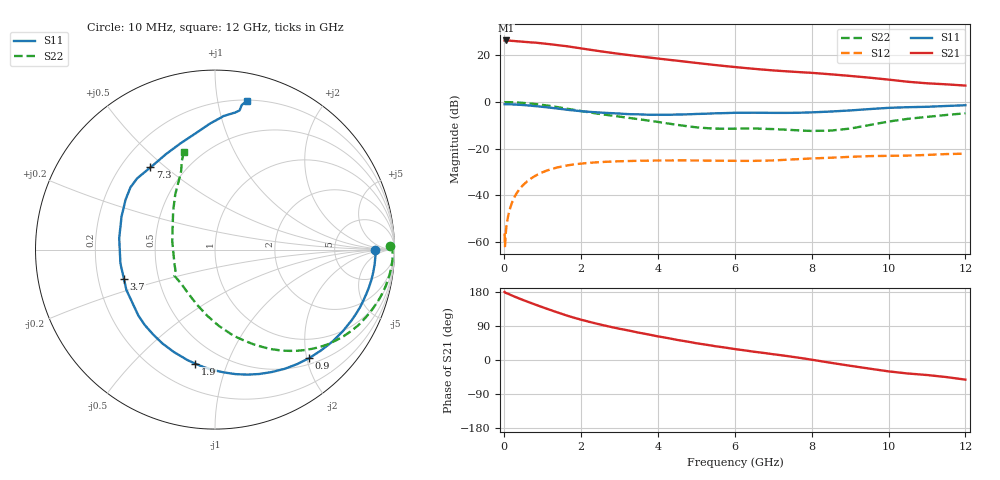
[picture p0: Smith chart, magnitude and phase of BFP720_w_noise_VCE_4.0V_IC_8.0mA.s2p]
! Infineon Technologies  Discrete & RF Semiconductors
! BFP720
! VCE =  4.0 V,  IC =  8.0 mA
! Common Emitter S-Parameters:  Aug 2012
# GHz  S  MA  R  50
!  f  S11  S21  S12  S22
! GHz  MAG  ANG  MAG  ANG  MAG  ANG  MAG  ANG
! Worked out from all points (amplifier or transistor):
!   105 points, 10 MHz to 12 GHz, reference 50 ohm
!   highest |S21| = 26.4 dB at 50 MHz (marker M1)
!   |S21| within 3 dB of that: start of sweep to 1.838 GHz
!   unconditionally stable (mu >= 1): start of sweep to 11.05 MHz; 5.837 GHz to 11.25 GHz
!   at 300 MHz: K = 0.12, MSG = 33.0 dB, |S12| = -39.8 dB
!   at 3.6 GHz: K = 0.63, MSG = 22.3 dB, |S12| = -25.2 dB
!   at 12 GHz: K = 0.78, MSG = 14.6 dB, |S12| = -22.2 dB
!   lowest NFmin = 0.48 dB at 450 MHz
!   S11 on the Smith chart (normalised r, x): 10 MHz: 18, -1; 900 MHz: 0.61, -2.05; 1.9 GHz: 0.36, -0.78; 3.7 GHz: 0.31, -0.14; 7.3 GHz: 0.32, +0.45; 12 GHz: 0.20, +1.22
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0.01  0.8921 -0.2  20.86 179.4  0.0015 -12.9  0.9741 1.3
0.02  0.8949 -1.0  20.76 178.0  0.0008 60.7  0.9892 -0.5
0.05  0.8943 -2.6  20.92 176.8  0.0019 72.1  0.9898 -1.6
0.25  0.8833 -13.7  20.39 168.1  0.0085 77.9  0.9811 -8.8
0.45  0.8633 -24.5  19.74 159.9  0.0151 73.7  0.9595 -15.8
0.9  0.8008 -49.0  18.44 142.8  0.0284 61.4  0.8846 -30.8
1.1  0.7693 -59.7  17.7 135.6  0.0334 55.8  0.8414 -37.1
1.4  0.7195 -75.5  16.54 125.1  0.0395 48.2  0.7719 -45.8
1.6  0.6857 -86.0  15.84 118.2  0.0428 43.5  0.7246 -51.1
1.9  0.645 -99.7  14.54 109.2  0.0465 37.4  0.658 -58.2
2.1  0.6233 -107.8  13.72 103.8  0.0483 33.7  0.6185 -62.4
2.4  0.5994 -119.3  12.61 96.0  0.0505 29.1  0.5665 -68.2
2.8  0.5743 -132.9  11.33 86.7  0.0525 23.9  0.5093 -75.2
3.7  0.5333 -161.9  9.139 68.4  0.0548 15.3  0.4035 -90.5
4.1  0.5305 -174.8  8.371 60.6  0.0553 12.3  0.3614 -98.5
5  0.5523 160.6  6.887 44.2  0.0553 6.9  0.2853 -121.8
6.1  0.585 142.4  5.521 27.5  0.0544 4.2  0.2675 -144.1
7.3  0.5825 128.1  4.574 11.2  0.0571 5.0  0.2542 -150.8
8.5  0.6226 107.9  3.923 -7.4  0.0634 1.9  0.2427 168.9
9.5  0.7026 92.3  3.325 -22.7  0.0687 -2.5  0.3182 137.1
10.5  0.7715 81.7  2.715 -35.6  0.0705 -6.9  0.4338 117.7
12  0.8494 77.8  2.246 -51.8  0.0775 -14.0  0.571 107.7
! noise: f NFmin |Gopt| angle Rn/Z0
0.45  0.48  0.35  2  0.16
1.8  0.54  0.32  22  0.14
2.4  0.59  0.26  45  0.25
5.5  0.73  0.14  40  0.14
10  0.95  0.39  -84  0.22
